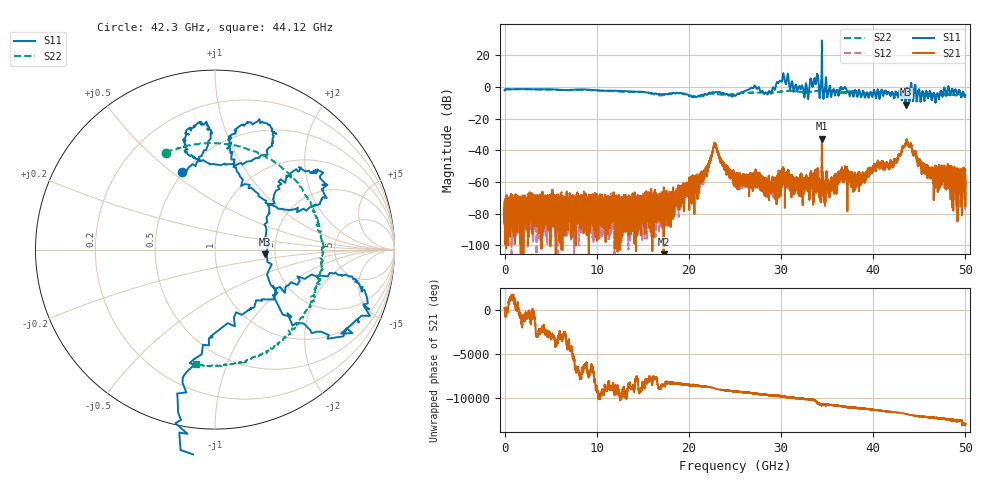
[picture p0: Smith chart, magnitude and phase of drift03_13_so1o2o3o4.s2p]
!Created with skrf (http://scikit-rf.org).
# Hz S RI R 50.0
!freq ReS11 ImS11 ReS21 ImS21 ReS12 ImS12 ReS22 ImS22
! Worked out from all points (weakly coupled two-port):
!   10000 points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, 5.3 MHz to 50 GHz, reference 50 ohm
!   highest |S21| = -32.55 dB at 34.43 GHz (marker M1); lowest = -126.2 dB at 17.26 GHz (marker M2)
!   lowest |S11| = -11.1 dB at 43.53 GHz (marker M3), VSWR 1.77, Z = 88.3 - j4.93 ohm
!   |S11| at or under -10 dB: 43.49312 GHz to 43.54311 GHz (49.99 MHz wide, 0.115 % of centre)
!   |S22| runs from -5.9 to -1.3 dB; largest |S21 - S12| = 0.0062
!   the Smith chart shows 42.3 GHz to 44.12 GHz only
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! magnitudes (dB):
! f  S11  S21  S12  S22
! 5.3 MHz  -2.1  -76.6  -77.5  -2.1
! 8.34 GHz  -1.5  -75.3  -74.8  -1.9
! 16.67 GHz  -4.4  -75.7  -71.6  -5.2
! 17.26 GHz  -4.6  -126.2  -72.0  -5.1
! 21.01 GHz  -5.6  -57.8  -59.1  -5.5
! 22.82 GHz  -3.4  -35.3  -35.2  -4.5
! 25.01 GHz  -5.5  -59.9  -59.5  -4.2
! 27.02 GHz  -0.4  -56.2  -55.9  -3.6
! 28.85 GHz  -3.7  -62.7  -65.8  -3.5
! 30.14 GHz  4.4  -54.1  -60.1  -2.8
! 32.74 GHz  2.0  -60.6  -57.7  -3.3
! 33.34 GHz  2.4  -54.5  -56.9  -2.9
! 34.43 GHz  29.4  -32.5  -34.3  -2.3
! 35.25 GHz  -0.5  -63.5  -64.7  -2.7
! 36.77 GHz  -1.1  -58.0  -55.1  -3.3
! 38.13 GHz  -3.0  -59.3  -59.0  -2.9
! 41.67 GHz  -3.3  -50.9  -49.9  -3.6
! 43.53 GHz  -11.1  -35.4  -35.1  -4.2
! 46.11 GHz  -3.1  -52.5  -52.6  -5.6
! 48.15 GHz  0.3  -53.5  -51.7  -4.9
! 49.75 GHz  -3.0  -62.5  -59.2  -5.1
! 50 GHz  -5.4  -59.3  -70.8  -5.0
